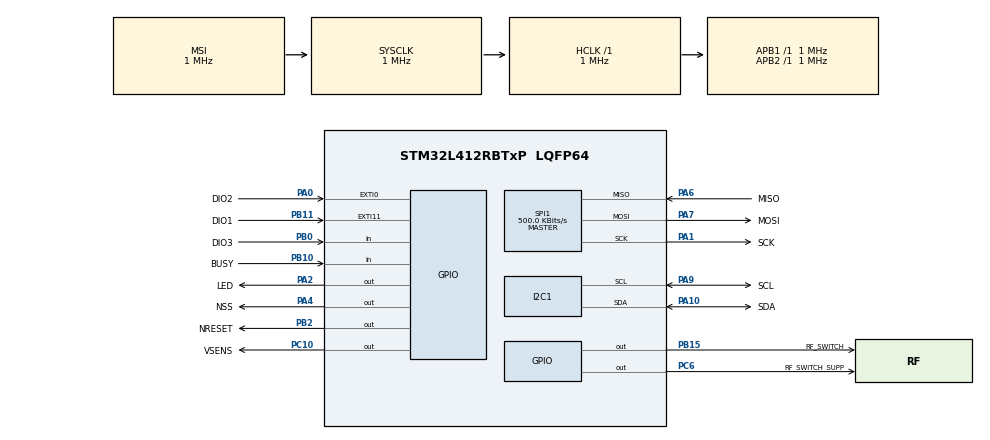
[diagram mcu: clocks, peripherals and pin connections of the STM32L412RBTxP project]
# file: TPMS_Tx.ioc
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I2C1.Speed=100
I2C1.Timing=0x00000103
LPTIM1.ClockPrescaler=LPTIM_PRESCALER_DIV32
Mcu.Family=STM32L4
Mcu.Name=STM32L412RBTxP
Mcu.Package=LQFP64
NVIC.EXTI0_IRQn=true\:0\:0\:false\:false\:true\:true\:true\:true
NVIC.EXTI15_10_IRQn=true\:0\:0\:false\:false\:true\:true\:true\:true
NVIC.LPTIM1_IRQn=true\:0\:0\:false\:false\:true\:true\:true\:true
NVIC.PriorityGroup=NVIC_PRIORITYGROUP_4
NVIC.RTC_WKUP_IRQn=true\:0\:0\:false\:false\:true\:true\:true\:true
PA0.GPIO_Label=DIO2
PA0.GPIO_ModeDefaultEXTI=GPIO_MODE_IT_RISING_FALLING
PA0.Signal=GPXTI0
PA1.GPIO_Label=SCK
PA1.Mode=Full_Duplex_Master
PA1.Signal=SPI1_SCK
PA10.GPIO_Label=SDA
PA10.Mode=I2C
PA10.Signal=I2C1_SDA
PA13\ (JTMS/SWDIO).Mode=Serial_Wire
PA13\ (JTMS/SWDIO).Signal=SYS_JTMS-SWDIO
PA14\ (JTCK/SWCLK).Mode=Serial_Wire
PA14\ (JTCK/SWCLK).Signal=SYS_JTCK-SWCLK
PA2.GPIO_Label=LED
PA2.Signal=GPIO_Output
PA4.GPIO_Label=NSS
PA4.Signal=GPIO_Output
PA6.GPIO_Label=MISO
PA6.Mode=Full_Duplex_Master
PA6.Signal=SPI1_MISO
PA7.GPIO_Label=MOSI
PA7.Mode=Full_Duplex_Master
PA7.Signal=SPI1_MOSI
PA9.GPIO_Label=SCL
PA9.Mode=I2C
PA9.Signal=I2C1_SCL
PB0.GPIO_Label=DIO3
PB0.Signal=GPIO_Input
PB10.GPIO_Label=BUSY
PB10.Signal=GPIO_Input
PB11.GPIO_Label=DIO1
PB11.Signal=GPXTI11
PB15.GPIO_Label=RF_SWITCH
PB15.Signal=GPIO_Output
PB2.GPIO_Label=NRESET
PB2.Signal=GPIO_Output
PC10.GPIO_Label=VSENS
PC10.Signal=GPIO_Output
PC6.GPIO_Label=RF_SWITCH_SUPP
PC6.Signal=GPIO_Output
ProjectManager.HeapSize=0x200
ProjectManager.StackSize=0x400
ProjectManager.TargetToolchain=STM32CubeIDE
RCC.ADCFreq_Value=1000000
RCC.AHBFreq_Value=1000000
RCC.APB1Freq_Value=1000000
RCC.APB1TimFreq_Value=1000000
RCC.APB2Freq_Value=1000000
RCC.APB2TimFreq_Value=1000000
RCC.CortexFreq_Value=1000000
RCC.HCLKFreq_Value=1000000
RCC.HSE_Timout=100
RCC.HSE_VALUE=4000000
RCC.HSI48_VALUE=48000000
RCC.HSI_VALUE=16000000
RCC.I2C1CLockSelection=RCC_I2C1CLKSOURCE_SYSCLK
RCC.LPTIM1CLockSelection=RCC_LPTIM1CLKSOURCE_LSI
RCC.LSE_Timout=100
RCC.LSE_VALUE=32768
RCC.MSICalibrationValue=4
RCC.MSIClockRange=RCC_MSIRANGE_4
RCC.MSI_VALUE=1000000
RCC.PLLM=2
RCC.PLLN=16
RCC.PREFETCH_ENABLE=1
RCC.PWR_Regulator_Voltage_Scale=PWR_REGULATOR_VOLTAGE_SCALE2
RCC.SYSCLKFreq_VALUE=1000000
RCC.USBFreq_Value=1000000
RCC.VCOOutputFreq_Value=8000000
RTC.WakeUpClock-WakeUp=RTC_WAKEUPCLOCK_CK_SPRE_16BITS
RTC.WakeUpCounter-WakeUp=10
SPI1.BaudRatePrescaler=SPI_BAUDRATEPRESCALER_2
SPI1.CalculateBaudRate=500.0 KBits/s
SPI1.DataSize=SPI_DATASIZE_8BIT
SPI1.Direction=SPI_DIRECTION_2LINES
SPI1.Mode=SPI_MODE_MASTER
SPI1.NSSPMode=SPI_NSS_PULSE_DISABLE
SPI1.VirtualType=VM_MASTER
SYS.Mode=PWR_PVD_MODE_NORMAL
SYS.PVDLevel=PWR_PVDLEVEL_5
VP_LPTIM1_VS_LPTIM_counterModeInternalClock.Mode=Counts__internal_clock_event_00
VP_RTC_VS_RTC_Activate.Mode=RTC_Enabled
VP_RTC_VS_RTC_WakeUp_intern.Mode=WakeUp
VP_SYS_V_PVD_IN.Mode=Mode_PVD_Int
board=custom

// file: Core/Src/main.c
/* USER CODE BEGIN Header */
/**
  ******************************************************************************
  * @file           : main.c
  * @brief          : Main program body
  ******************************************************************************
  * @attention
  *
  * Copyright (c) 2023 STMicroelectronics.
  * All rights reserved.
  *
  * This software is licensed under terms that can be found in the LICENSE file
  * in the root directory of this software component.
  * If no LICENSE file comes with this software, it is provided AS-IS.
  *
  ******************************************************************************
  */
/* USER CODE END Header */
#include "main.h"

/* USER CODE BEGIN Includes */
#include <SX1262.h>
#include <PressSens.h>
/* USER CODE END Includes */

/* USER CODE BEGIN PTD */
#define ID 2
#define TRANSMITS 10

#define RTC_PERIOD_S   12   /* Period in seconds of the RTC interrupts */
#define RESET_TIME_HRS 24  /* Period in hours after which the TPMS returns to the default settings */

#define RESET_TIME RESET_TIME_HRS * 3600 / RTC_PERIOD_S
/* USER CODE END PTD */

/* USER CODE BEGIN PM */
MCU   mcu;
Radio radio;

Pressure_Sensor pr;

/* USER CODE END PM */

I2C_HandleTypeDef hi2c1;

LPTIM_HandleTypeDef hlptim1;

RTC_HandleTypeDef hrtc;

SPI_HandleTypeDef hspi1;

/* USER CODE BEGIN PV */
HAL_StatusTypeDef status_hal = HAL_ERROR, test1 = HAL_ERROR, test2 = HAL_ERROR, test3 = HAL_ERROR;
I2Cstatus_t i2c_status;
RadioState_t counter;
HAL_StatusTypeDef hal_status;

bool Rx_counter;

typedef enum
{
	RX = 0,
	TX = 1,
	TX_CONT = 2,

}TXRX;
TXRX txrx;

//bool new_msg = false;
uint64_t last_message_time;
uint64_t last_tx_time;
float packet_loss;
bool first_reception = true;
uint32_t received_msgs = 0, rx_cnt = 0, initial_rx_cnt = 0;
uint32_t tx_cnt = 0, rx_tick, tick1, tick2, tick3;

uint8_t tpms_msg[5];
int t1,t2,t3,t4,t5,t6,t7,t8, t_sleep,t_sleep_start;
int sleep_time = 940;
uint16_t wait_time;
int tst, i;

uint8_t active   = 0;
uint8_t active1 = 0;
uint8_t first_rx = 0;
uint8_t first_wakeup = 0;
uint32_t wake_rx_tick;

uint8_t tx_counter = 0;
uint8_t rx_enable = 0;
uint32_t reset_test;

uint32_t rtc_reset_counter = 0;

typedef enum
{
	REQUEST_MSG = 11,
	CFGR_MSG    = 12,

}TPMS_msg_t;

typedef enum
{
	SAMPLE_0_5 = 1,  /* Sample every 0.5s */
	SAMPLE_1_0 = 2,  /* Sample every 1.0s */
	SAMPLE_3_0 = 3,  /* Sample every 3.0s */

}TPMS_samplingFreq_t;

/* USER CODE END PV */

void SystemClock_Config(void);
static void MX_GPIO_Init(void);
static void MX_I2C1_Init(void);
static void MX_SPI1_Init(void);
static void MX_RTC_Init(void);
static void MX_LPTIM1_Init(void);
/* USER CODE BEGIN PFP */
//static void MX_RTC_Init(void);
void DeInitializeTPMS(void);
void InitializeTPMS(void);
void TPMS_sleep(uint32_t period_ms);
/* USER CODE END PFP */

/* USER CODE BEGIN 0 */

void HAL_GPIO_EXTI_Callback(uint16_t GPIO_Pin)
{
	if (GPIO_Pin == mcu.dio2.pin)
	{
		SX1262dio2Interrupt(&mcu, &radio);
	}

	else if (GPIO_Pin == mcu.dio1.pin)
	{
		radio.msg_pending = true;
	}
}
/* USER CODE END 0 */

int main(void)
{

  /* MCU Configuration--------------------------------------------------------*/

  /* Reset of all peripherals, Initializes the Flash interface and the Systick. */
  HAL_Init();

  /* Configure the system clock */
  SystemClock_Config();

  /* Initialize all configured peripherals */
  MX_GPIO_Init();
  MX_I2C1_Init();
  MX_SPI1_Init();
  MX_RTC_Init();
  MX_LPTIM1_Init();
  /* USER CODE BEGIN 2 */

  MCU_init(&mcu, &hspi1, GPIOA, NSS_Pin, GPIOB, NRESET_Pin, GPIOB, BUSY_Pin, GPIOB, DIO1_Pin, GPIOA,
       	   DIO2_Pin, GPIOB, DIO3_Pin, GPIOB, RF_SWITCH_Pin, GPIOC, RF_SWITCH_SUPP_Pin);

  /* USER CODE END 2 */

  /* Infinite loop */
  /* USER CODE BEGIN WHILE */

  i2c_status += sensor_init(&pr, &hi2c1, VSENS_GPIO_Port, VSENS_Pin);
  Radio_struct_init(&radio);
  counter += SX1262GfskInit(&mcu, &radio, 0, 900);

  last_message_time = HAL_GetTick();

  SleepParams_t sleep;
  sleep.rtcMode = RTC_DISABLED;
  sleep.startMode = WARM_START;

  HAL_PWREx_EnableSRAM2ContentRetention();
  HAL_PWREx_EnableLowPowerRunMode();

  while (1)
  {
	  if (!active)
	  {
		  if (!active1) {

			  active1 = 1;
			  SX1262SetStandby(&mcu, &radio, STDBY_RC);

			  SX1262SetSleep(&mcu, &radio, sleep);

	//---------------------------------------------------------//deinit i2c/spi

			  DeInitializeTPMS();

	//---------------------------------------------------------// STOP2

			  HAL_SuspendTick();

			  HAL_RTCEx_SetWakeUpTimer_IT(&hrtc, 0x9C40, 1,0);

	//		  HAL_PWREx_EnterSTOP2Mode(PWR_STOPENTRY_WFI);
			  HAL_PWR_EnterSTANDBYMode();

			  HAL_RTCEx_DeactivateWakeUpTimer(&hrtc);

			  HAL_ResumeTick();

	//---------------------------------------------------------//init i2c/spi

			  InitializeTPMS();

	//---------------------------------------------------------//

			  tst = 16;
			  SX1262SetStandby(&mcu, &radio, STDBY_RC);
			  tst = 17;
			  radio.msg_pending = false;
			  SX1262SetRx(&mcu, &radio, 0xFFFF);
			  i++;
		  }
		  uint32_t current = HAL_GetTick();
		  while (HAL_GetTick() - current < 100)
		  {
			  if (radio.msg_pending)
			  {
				  active = 1;
				  first_wakeup = 1;
				  rtc_reset_counter = 0;
				  break;
			  }
			  rtc_reset_counter++;
		  }
		  if (!active) {active1 = 0;}
	  }

	  if (radio.msg_pending)
	  {
		  SX1262SetStandby(&mcu, &radio, STDBY_RC); // 1ms

		  SX1262dio1Interrupt(&mcu, &radio);

		  SX1262ClearIrqStatus(&mcu, &radio, 0xFFFF);

		  SX1262SetSleep(&mcu, &radio, sleep);

		  if ((radio.tpms_rx_msg[0] >> 4) == REQUEST_MSG)
		  {
			  wait_time = ((radio.tpms_rx_msg[1] << 8) | radio.tpms_rx_msg[2])  + (10 * ID);

			  if (wait_time >= 10000)
			  {
				  wait_time = 3000;
				  active = 0;
			  }

			  uint8_t tx_freq = radio.tpms_rx_msg[0] & 0b11;

			  switch(ID)
			  {
			  case 0:
				  switch (tx_freq)
			  	  {
			  	  case SAMPLE_0_5:     /* 0.5s */
			  		  sleep_time = 514;
			  		  wait_time += 25; //13
			  		  break;

			  	  case SAMPLE_1_0:     /* 1.0s */
			  		  sleep_time = 1011;
			  		  wait_time += 20;
			  		  break;

			  	  case SAMPLE_3_0:     /* 3.0s */
			  		  sleep_time = 3002;
			  		  wait_time += 9;
			  		  break;

			 	  default:
			  		  break;
			  	  }
			  	  break;

			  case 1:
				  switch (tx_freq)
				  {
				  case SAMPLE_0_5:     /* 0.5s */
					  sleep_time = 506;
					  wait_time += 26;
					  break;

				  case SAMPLE_1_0:     /* 1.0s */
					  sleep_time = 994;
					  wait_time += 15;
					  break;

				  case SAMPLE_3_0:     /* 3.0s */
					  sleep_time = 2948;
					  wait_time -= 32;
					  break;

				  default:
					  break;
				  }
				  break;

			  case 2:
			      switch (tx_freq)
				  {
				  case SAMPLE_0_5:     /* 0.5s */
				      sleep_time = 511;
					  wait_time += 2;
					  break;

				  case SAMPLE_1_0:     /* 1.0s */
					  sleep_time = 1003;
					  wait_time += 33;
					  break;

				  case SAMPLE_3_0:     /* 3.0s */
					  sleep_time = 2979;
					  wait_time -= 3;
					  break;

				  default:
					  break;
				  }
				  break;

			  case 3:
			      switch (tx_freq)
			      {
			      case SAMPLE_0_5:     /* 0.5s */
			          sleep_time = 523 - 10;
			      	  wait_time += 52;
			      	  break;

			      case SAMPLE_1_0:     /* 1.0s */
			      	  sleep_time = 1018 - 10;
			      	  wait_time += 45;
			      	  break;

			      case SAMPLE_3_0:     /* 3.0s */
			      	  sleep_time = 2997 - 5;
			      	  wait_time += 24;
			      	  break;

			      default:
			      	  break;
			      }
			      break;

			  default:
				  break;
			  }
			  sleep_time += (int8_t)(radio.tpms_rx_msg[3]);
			  wait_time += (int8_t)(radio.tpms_rx_msg[4]);
			  TPMS_sleep(wait_time);
			  tx_counter = 0;

			  while (tx_counter < TRANSMITS)
			  {
				  sensor_measure(&pr, TEMP_OSR_256, PRESS_OSR_256); // 10ms

				  tpms_msg[0] = ID;
				  tpms_msg[1] = pr.temperature_reg >> 16;
				  tpms_msg[2] = pr.temperature_reg >> 8;
				  tpms_msg[3] = pr.pressure_reg >> 16;
				  tpms_msg[4] = pr.pressure_reg >> 8;

				  SX1262SetStandby(&mcu, &radio, STDBY_RC);

				  HAL_GPIO_WritePin(RF_SWITCH_SUPP_GPIO_Port, RF_SWITCH_SUPP_Pin, GPIO_PIN_SET);
				  HAL_GPIO_WritePin(RF_SWITCH_GPIO_Port, RF_SWITCH_Pin, GPIO_PIN_SET);

				  SX1262SendPayload(&mcu, &radio, tpms_msg, radio.packetParams.Params.Gfsk.PayloadLength - 1, 10, false);

				  HAL_Delay(5);

				  if(first_wakeup)
					  break;

				  if (tx_counter < TRANSMITS - 1)
				  {

					  SX1262SetSleep(&mcu, &radio, sleep);

					  TPMS_sleep(sleep_time);
					  SX1262SetStandby(&mcu, &radio, STDBY_RC);
				  }
				  tx_counter++;
			  }
	//......................................................................
			  SX1262SetSleep(&mcu, &radio, sleep);
			  TPMS_sleep(100);
			  SX1262SetStandby(&mcu, &radio, STDBY_RC);
	//......................................................................
		  }
		  else if ((radio.tpms_rx_msg[0] >> 4) == CFGR_MSG)
		  {
			  int8_t   target_power     =  radio.tpms_rx_msg[1];
			  uint16_t target_freqInMHz = (radio.tpms_rx_msg[2] << 8) | radio.tpms_rx_msg[3];

			  if ((target_power != radio.power) || (target_freqInMHz * 1000000 != radio.rfFrequency))
			  {
				  SX1262GfskInit(&mcu, &radio, target_power, target_freqInMHz);
				  active = 0;
				  active1 = 0;
			  }
		  }

		  radio.msg_pending = false;
		  first_rx = 1;
	  }

	  if (active)
	  {
		  if (first_rx)
		  {
			  if (radio.opMode == SLEEP_MODE)
				  SX1262SetStandby(&mcu, &radio, STDBY_RC);
			  SX1262SetRx(&mcu, &radio, 0xFFFF);

			  wake_rx_tick = HAL_GetTick();

			  first_rx = 0;
		  }

		  if (!first_rx)
		  {
			  while(HAL_GetTick() - wake_rx_tick < 500)
			  {
				  if (radio.msg_pending)
					  break;

			  }
			  if (!radio.msg_pending)
				  active = 0;

			  SX1262SetStandby(&mcu, &radio, STDBY_RC);
		  }
	  }
	  //reset_test = RESET_TIME;
	  /* Checks if the system has to be reset to its default values */
	  if (rtc_reset_counter > RESET_TIME)
	  {
		    __disable_irq();
		    HAL_NVIC_SystemReset();
	  }
	  first_wakeup = 0;

    /* USER CODE END WHILE */

  }
}

void SystemClock_Config(void)
{
  RCC_OscInitTypeDef RCC_OscInitStruct = {0};
  RCC_ClkInitTypeDef RCC_ClkInitStruct = {0};

  /** Configure the main internal regulator output voltage
  */
  if (HAL_PWREx_ControlVoltageScaling(PWR_REGULATOR_VOLTAGE_SCALE2) != HAL_OK)
  {
    Error_Handler();
  }

  /** Initializes the RCC Oscillators according to the specified parameters
  * in the RCC_OscInitTypeDef structure.
  */
  RCC_OscInitStruct.OscillatorType = RCC_OSCILLATORTYPE_LSI|RCC_OSCILLATORTYPE_MSI;
  RCC_OscInitStruct.LSIState = RCC_LSI_ON;
  RCC_OscInitStruct.MSIState = RCC_MSI_ON;
  RCC_OscInitStruct.MSICalibrationValue = 4;
  RCC_OscInitStruct.MSIClockRange = RCC_MSIRANGE_4;
  RCC_OscInitStruct.PLL.PLLState = RCC_PLL_NONE;
  if (HAL_RCC_OscConfig(&RCC_OscInitStruct) != HAL_OK)
  {
    Error_Handler();
  }

  /** Initializes the CPU, AHB and APB buses clocks
  */
  RCC_ClkInitStruct.ClockType = RCC_CLOCKTYPE_HCLK|RCC_CLOCKTYPE_SYSCLK
                              |RCC_CLOCKTYPE_PCLK1|RCC_CLOCKTYPE_PCLK2;
  RCC_ClkInitStruct.SYSCLKSource = RCC_SYSCLKSOURCE_MSI;
  RCC_ClkInitStruct.AHBCLKDivider = RCC_SYSCLK_DIV1;
  RCC_ClkInitStruct.APB1CLKDivider = RCC_HCLK_DIV1;
  RCC_ClkInitStruct.APB2CLKDivider = RCC_HCLK_DIV1;

  if (HAL_RCC_ClockConfig(&RCC_ClkInitStruct, FLASH_LATENCY_0) != HAL_OK)
  {
    Error_Handler();
  }
}

static void MX_I2C1_Init(void)
{

  hi2c1.Instance = I2C1;
  hi2c1.Init.Timing = 0x00000103;
  hi2c1.Init.OwnAddress1 = 0;
  hi2c1.Init.AddressingMode = I2C_ADDRESSINGMODE_7BIT;
  hi2c1.Init.DualAddressMode = I2C_DUALADDRESS_DISABLE;
  hi2c1.Init.OwnAddress2 = 0;
  hi2c1.Init.OwnAddress2Masks = I2C_OA2_NOMASK;
  hi2c1.Init.GeneralCallMode = I2C_GENERALCALL_DISABLE;
  hi2c1.Init.NoStretchMode = I2C_NOSTRETCH_DISABLE;
  if (HAL_I2C_Init(&hi2c1) != HAL_OK)
  {
    Error_Handler();
  }

  /** Configure Analogue filter
  */
  if (HAL_I2CEx_ConfigAnalogFilter(&hi2c1, I2C_ANALOGFILTER_ENABLE) != HAL_OK)
  {
    Error_Handler();
  }

  /** Configure Digital filter
  */
  if (HAL_I2CEx_ConfigDigitalFilter(&hi2c1, 0) != HAL_OK)
  {
    Error_Handler();
  }

}

static void MX_LPTIM1_Init(void)
{

  hlptim1.Instance = LPTIM1;
  hlptim1.Init.Clock.Source = LPTIM_CLOCKSOURCE_APBCLOCK_LPOSC;
  hlptim1.Init.Clock.Prescaler = LPTIM_PRESCALER_DIV32;
  hlptim1.Init.Trigger.Source = LPTIM_TRIGSOURCE_SOFTWARE;
  hlptim1.Init.OutputPolarity = LPTIM_OUTPUTPOLARITY_HIGH;
  hlptim1.Init.UpdateMode = LPTIM_UPDATE_IMMEDIATE;
  hlptim1.Init.CounterSource = LPTIM_COUNTERSOURCE_INTERNAL;
  hlptim1.Init.Input1Source = LPTIM_INPUT1SOURCE_GPIO;
  hlptim1.Init.Input2Source = LPTIM_INPUT2SOURCE_GPIO;
  hlptim1.Init.RepetitionCounter = 0;
  if (HAL_LPTIM_Init(&hlptim1) != HAL_OK)
  {
    Error_Handler();
  }

}

static void MX_RTC_Init(void)
{

  /** Initialize RTC Only
  */
  hrtc.Instance = RTC;
  hrtc.Init.HourFormat = RTC_HOURFORMAT_24;
  hrtc.Init.AsynchPrediv = 127;
  hrtc.Init.SynchPrediv = 255;
  hrtc.Init.OutPut = RTC_OUTPUT_DISABLE;
  hrtc.Init.OutPutRemap = RTC_OUTPUT_REMAP_NONE;
  hrtc.Init.OutPutPolarity = RTC_OUTPUT_POLARITY_HIGH;
  hrtc.Init.OutPutType = RTC_OUTPUT_TYPE_OPENDRAIN;
  hrtc.Init.OutPutPullUp = RTC_OUTPUT_PULLUP_NONE;
  if (HAL_RTC_Init(&hrtc) != HAL_OK)
  {
    Error_Handler();
  }

  /** Enable the WakeUp
  */
  if (HAL_RTCEx_SetWakeUpTimer_IT(&hrtc, 10, RTC_WAKEUPCLOCK_CK_SPRE_16BITS, 0) != HAL_OK)
  {
    Error_Handler();
  }

}

static void MX_SPI1_Init(void)
{

  /* SPI1 parameter configuration*/
  hspi1.Instance = SPI1;
  hspi1.Init.Mode = SPI_MODE_MASTER;
  hspi1.Init.Direction = SPI_DIRECTION_2LINES;
  hspi1.Init.DataSize = SPI_DATASIZE_8BIT;
  hspi1.Init.CLKPolarity = SPI_POLARITY_LOW;
  hspi1.Init.CLKPhase = SPI_PHASE_1EDGE;
  hspi1.Init.NSS = SPI_NSS_SOFT;
  hspi1.Init.BaudRatePrescaler = SPI_BAUDRATEPRESCALER_2;
  hspi1.Init.FirstBit = SPI_FIRSTBIT_MSB;
  hspi1.Init.TIMode = SPI_TIMODE_DISABLE;
  hspi1.Init.CRCCalculation = SPI_CRCCALCULATION_DISABLE;
  hspi1.Init.CRCPolynomial = 7;
  hspi1.Init.CRCLength = SPI_CRC_LENGTH_DATASIZE;
  hspi1.Init.NSSPMode = SPI_NSS_PULSE_DISABLE;
  if (HAL_SPI_Init(&hspi1) != HAL_OK)
  {
    Error_Handler();
  }

}

static void MX_GPIO_Init(void)
{
  GPIO_InitTypeDef GPIO_InitStruct = {0};
/* USER CODE BEGIN MX_GPIO_Init_1 */

  HAL_GPIO_WritePin(GPIOB, NRESET_Pin, GPIO_PIN_SET);
  HAL_GPIO_WritePin(GPIOA, NSS_Pin, GPIO_PIN_SET);

/* USER CODE END MX_GPIO_Init_1 */

  /* GPIO Ports Clock Enable */
  __HAL_RCC_GPIOA_CLK_ENABLE();
  __HAL_RCC_GPIOB_CLK_ENABLE();
  __HAL_RCC_GPIOC_CLK_ENABLE();

  /*Configure GPIO pin Output Level */
  HAL_GPIO_WritePin(GPIOA, LED_Pin|NSS_Pin, GPIO_PIN_RESET);
  HAL_GPIO_WritePin(GPIOA, NSS_Pin, GPIO_PIN_SET);
  /*Configure GPIO pin Output Level */
  HAL_GPIO_WritePin(GPIOB, NRESET_Pin|RF_SWITCH_Pin, GPIO_PIN_RESET);
  HAL_GPIO_WritePin(GPIOB, NRESET_Pin, GPIO_PIN_SET);
  /*Configure GPIO pin Output Level */
  HAL_GPIO_WritePin(GPIOC, RF_SWITCH_SUPP_Pin|VSENS_Pin, GPIO_PIN_RESET);

  /*Configure GPIO pin : DIO2_Pin */
  GPIO_InitStruct.Pin = DIO2_Pin;
  GPIO_InitStruct.Mode = GPIO_MODE_IT_RISING_FALLING;
  GPIO_InitStruct.Pull = GPIO_NOPULL;
  HAL_GPIO_Init(DIO2_GPIO_Port, &GPIO_InitStruct);

  /*Configure GPIO pins : LED_Pin NSS_Pin */
  GPIO_InitStruct.Pin = LED_Pin|NSS_Pin;
  GPIO_InitStruct.Mode = GPIO_MODE_OUTPUT_PP;
  GPIO_InitStruct.Pull = GPIO_NOPULL;
  GPIO_InitStruct.Speed = GPIO_SPEED_FREQ_LOW;
  HAL_GPIO_Init(GPIOA, &GPIO_InitStruct);

  /*Configure GPIO pins : DIO3_Pin BUSY_Pin */
  GPIO_InitStruct.Pin = DIO3_Pin|BUSY_Pin;
  GPIO_InitStruct.Mode = GPIO_MODE_INPUT;
  GPIO_InitStruct.Pull = GPIO_NOPULL;
  HAL_GPIO_Init(GPIOB, &GPIO_InitStruct);

  /*Configure GPIO pins : NRESET_Pin RF_SWITCH_Pin */
  GPIO_InitStruct.Pin = NRESET_Pin|RF_SWITCH_Pin;
  GPIO_InitStruct.Mode = GPIO_MODE_OUTPUT_PP;
  GPIO_InitStruct.Pull = GPIO_NOPULL;
  GPIO_InitStruct.Speed = GPIO_SPEED_FREQ_LOW;
  HAL_GPIO_Init(GPIOB, &GPIO_InitStruct);

  /*Configure GPIO pin : DIO1_Pin */
  GPIO_InitStruct.Pin = DIO1_Pin;
  GPIO_InitStruct.Mode = GPIO_MODE_IT_RISING;
  GPIO_InitStruct.Pull = GPIO_NOPULL;
  HAL_GPIO_Init(DIO1_GPIO_Port, &GPIO_InitStruct);

  /*Configure GPIO pins : RF_SWITCH_SUPP_Pin VSENS_Pin */
  GPIO_InitStruct.Pin = RF_SWITCH_SUPP_Pin|VSENS_Pin;
  GPIO_InitStruct.Mode = GPIO_MODE_OUTPUT_PP;
  GPIO_InitStruct.Pull = GPIO_NOPULL;
  GPIO_InitStruct.Speed = GPIO_SPEED_FREQ_LOW;
  HAL_GPIO_Init(GPIOC, &GPIO_InitStruct);

  /* EXTI interrupt init*/
  HAL_NVIC_SetPriority(EXTI0_IRQn, 0, 0);
  HAL_NVIC_EnableIRQ(EXTI0_IRQn);

  HAL_NVIC_SetPriority(EXTI15_10_IRQn, 0, 0);
  HAL_NVIC_EnableIRQ(EXTI15_10_IRQn);

}

/* USER CODE BEGIN 4 */

void DeInitializeTPMS(void)
{
	  GPIO_InitTypeDef GPIO_InitStructure;
	  GPIO_InitTypeDef GPIO_InitStructureA;

	  HAL_NVIC_DisableIRQ(EXTI0_IRQn);
	  HAL_NVIC_DisableIRQ(EXTI15_10_IRQn);
	  HAL_SPI_DeInit(&hspi1);
	  __HAL_RCC_SPI1_CLK_DISABLE();

	  HAL_I2C_DeInit(&hi2c1);
	  __HAL_RCC_I2C1_CLK_DISABLE();

	  GPIO_InitStructure.Pin = GPIO_PIN_All;
	  GPIO_InitStructure.Mode = GPIO_MODE_ANALOG;
	  GPIO_InitStructure.Pull = GPIO_NOPULL;

	  GPIO_InitStructureA.Pin = GPIO_PIN_0 | GPIO_PIN_1 | GPIO_PIN_2 | GPIO_PIN_3 /*| GPIO_PIN_4*/ | GPIO_PIN_5 | GPIO_PIN_6 | GPIO_PIN_7 | GPIO_PIN_8 | GPIO_PIN_9 | GPIO_PIN_10 | GPIO_PIN_11 | GPIO_PIN_12 /*| GPIO_PIN_13 | GPIO_PIN_14*/ | GPIO_PIN_15;
	  GPIO_InitStructureA.Mode = GPIO_MODE_ANALOG;
	  GPIO_InitStructureA.Pull = GPIO_NOPULL;

	  HAL_GPIO_Init(GPIOA, &GPIO_InitStructureA);
	  HAL_GPIO_Init(GPIOB, &GPIO_InitStructure);
	  HAL_GPIO_Init(GPIOC, &GPIO_InitStructure);
	  HAL_GPIO_Init(GPIOH, &GPIO_InitStructure);

	  __HAL_RCC_GPIOA_CLK_DISABLE();
	  __HAL_RCC_GPIOB_CLK_DISABLE();
	  __HAL_RCC_GPIOC_CLK_DISABLE();
	  __HAL_RCC_GPIOH_CLK_DISABLE();
}

void InitializeTPMS(void)
{
	__HAL_RCC_GPIOA_CLK_ENABLE();
	__HAL_RCC_GPIOB_CLK_ENABLE();
	__HAL_RCC_GPIOC_CLK_ENABLE();
	__HAL_RCC_GPIOH_CLK_ENABLE();

	__HAL_RCC_SPI1_CLK_ENABLE();
	__HAL_RCC_I2C1_CLK_ENABLE();

	MX_GPIO_Init();
	MX_I2C1_Init();
	MX_SPI1_Init();

	__HAL_SPI_ENABLE(&hspi1);
	__HAL_I2C_ENABLE(&hi2c1);
}

void TPMS_sleep(uint32_t period_ms)
{
	//---------------------------------------------------------//deinit i2c/spi

	DeInitializeTPMS();

	//---------------------------------------------------------// STOP2

	HAL_SuspendTick();

	HAL_LPTIM_Counter_Start(&hlptim1, period_ms);
	HAL_LPTIM_TimeOut_Start_IT(&hlptim1, 1, period_ms);

	//HAL_PWR_EnterSTANDBYMode();
	HAL_PWREx_EnterSTOP2Mode(PWR_STOPENTRY_WFI);

	HAL_LPTIM_Counter_Stop(&hlptim1);

	HAL_LPTIM_TimeOut_Stop_IT(&hlptim1);
	HAL_ResumeTick();

	//---------------------------------------------------------//init i2c/spi

	InitializeTPMS();

	//---------------------------------------------------------//
}

/* USER CODE END 4 */

void Error_Handler(void)
{
  __disable_irq();
  while (1)
  {
  }
}
